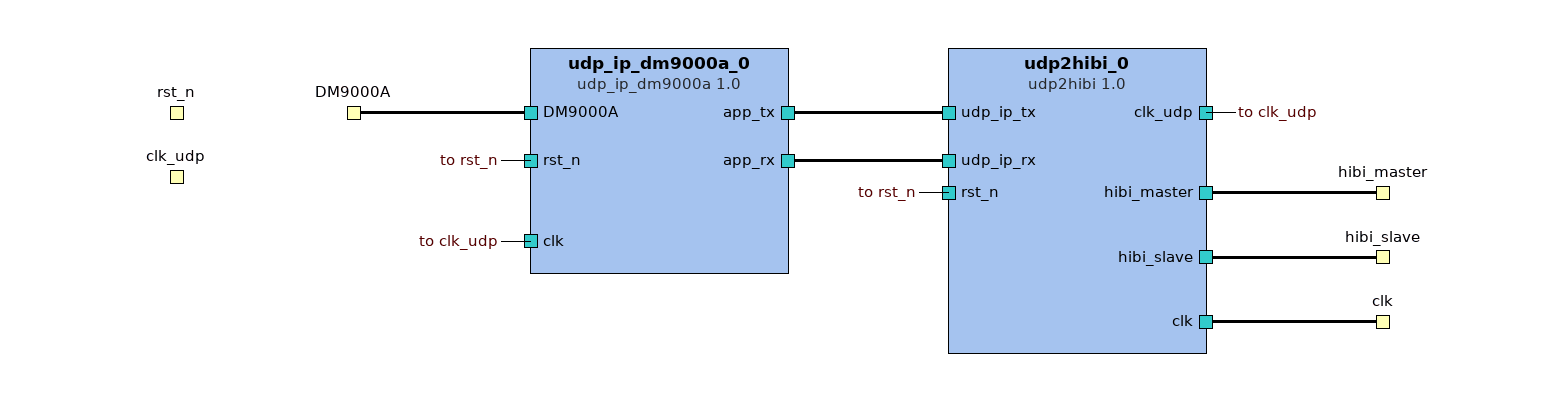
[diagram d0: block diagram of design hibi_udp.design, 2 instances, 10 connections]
<?xml version="1.0" encoding="UTF-8"?>
<!-- Created by Kactus2 - Open source IP-Xact toolset -->
<!-- http://sourceforge.net/projects/kactus2/ -->
<!-- Date: 09.01.2013 -->
<!-- Time: 13:57:58 -->
<spirit:design xmlns:kactus2="http://funbase.cs.tut.fi/" xmlns:spirit="http://www.spiritconsortium.org/XMLSchema/SPIRIT/1.5" xmlns:xsi="http://www.w3.org/2001/XMLSchema-instance" xsi:schemaLocation="http://www.spiritconsortium.org/XMLSchema/SPIRIT/1.5 http://www.spiritconsortium.org/XMLSchema/SPIRIT/1.5/index.xsd"><spirit:vendor>TUT</spirit:vendor><spirit:library>ip.hwp.interface</spirit:library><spirit:name>hibi_udp.design</spirit:name>
 <spirit:version>1.0</spirit:version><spirit:componentInstances>
 <spirit:componentInstance><spirit:instanceName>udp2hibi_0</spirit:instanceName><spirit:componentRef spirit:vendor="TUT" spirit:library="ip.hwp.interface" spirit:name="udp2hibi" spirit:version="1.0"/></spirit:componentInstance>
 <spirit:componentInstance><spirit:instanceName>udp_ip_dm9000a_0</spirit:instanceName><spirit:componentRef spirit:vendor="TUT" spirit:library="ip.hwp.interface" spirit:name="udp_ip_dm9000a" spirit:version="1.0"/></spirit:componentInstance>
</spirit:componentInstances><spirit:interconnections>
 <spirit:interconnection><spirit:name>udp2hibi_0_udp_ip_tx_to_udp_ip_dm9000a_0_app_tx</spirit:name><spirit:activeInterface spirit:componentRef="udp2hibi_0" spirit:busRef="udp_ip_tx"/><spirit:activeInterface spirit:componentRef="udp_ip_dm9000a_0" spirit:busRef="app_tx"/></spirit:interconnection>
 <spirit:interconnection><spirit:name>udp_ip_dm9000a_0_app_rx_to_udp2hibi_0_udp_ip_rx</spirit:name><spirit:activeInterface spirit:componentRef="udp_ip_dm9000a_0" spirit:busRef="app_rx"/><spirit:activeInterface spirit:componentRef="udp2hibi_0" spirit:busRef="udp_ip_rx"/></spirit:interconnection>
</spirit:interconnections><spirit:hierConnections>
 <spirit:hierConnection spirit:interfaceRef="clk"><spirit:interface spirit:componentRef="udp2hibi_0" spirit:busRef="clk"/></spirit:hierConnection>
 <spirit:hierConnection spirit:interfaceRef="hibi_master"><spirit:interface spirit:componentRef="udp2hibi_0" spirit:busRef="hibi_master"/></spirit:hierConnection>
 <spirit:hierConnection spirit:interfaceRef="hibi_slave"><spirit:interface spirit:componentRef="udp2hibi_0" spirit:busRef="hibi_slave"/></spirit:hierConnection>
 <spirit:hierConnection spirit:interfaceRef="DM9000A"><spirit:interface spirit:componentRef="udp_ip_dm9000a_0" spirit:busRef="DM9000A"/></spirit:hierConnection>
 <spirit:hierConnection spirit:interfaceRef="rst_n"><spirit:interface spirit:componentRef="udp_ip_dm9000a_0" spirit:busRef="rst_n"/></spirit:hierConnection>
 <spirit:hierConnection spirit:interfaceRef="clk_udp"><spirit:interface spirit:componentRef="udp2hibi_0" spirit:busRef="clk_udp"/></spirit:hierConnection>
 <spirit:hierConnection spirit:interfaceRef="clk_udp"><spirit:interface spirit:componentRef="udp_ip_dm9000a_0" spirit:busRef="clk"/></spirit:hierConnection>
 <spirit:hierConnection spirit:interfaceRef="rst_n"><spirit:interface spirit:componentRef="udp2hibi_0" spirit:busRef="rst_n"/></spirit:hierConnection>
</spirit:hierConnections></spirit:design>

